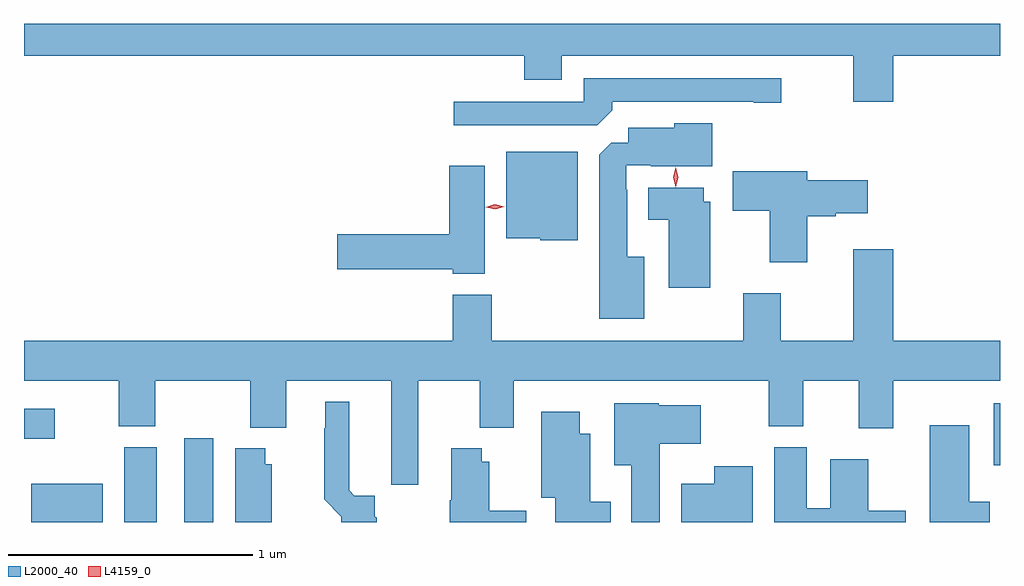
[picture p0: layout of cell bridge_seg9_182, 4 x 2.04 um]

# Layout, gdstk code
import gdstk
lib = gdstk.Library(unit=1e-6, precision=1e-09)
def R(c, l, rs):  # rectangles x0, y0, x1, y1
    for r in rs: c.add(gdstk.rectangle(r[:2], r[2:], *l))
def P(c, l, *ps):  # polygons
    for p in ps: c.add(gdstk.Polygon(p, *l))
L2000_40 = (2000, 40)
L4159_0 = (4159, 0)

bridge_seg9_182 = lib.new_cell('bridge_seg9_182')
R(bridge_seg9_182, L2000_40, [(137.663,1246.456,137.956,1246.615), (138.044,1246.456,138.178,1246.764), (138.29,1246.456,138.409,1246.801), (141.608,1246.691,141.634,1246.945), (137.634,1246.799,137.761,1246.921)])
P(bridge_seg9_182, L2000_40, [(141.196,1248.368),(141.634,1248.368),(141.634,1248.5),(137.634,1248.5),(137.634,1248.368),(139.685,1248.368),(139.685,1248.269),(139.837,1248.269),(139.837,1248.368),(141.032,1248.368),(141.032,1248.18),(141.196,1248.18)],
  [(140.045,1248.146),(140.045,1248.18),(140.624,1248.18),(140.624,1248.175),(140.737,1248.175),(140.737,1248.276),(139.929,1248.276),(139.929,1248.18),(139.395,1248.18),(139.395,1248.084),(139.983,1248.084)],
  [(140.176,1247.545),(140.107,1247.545),(140.107,1247.819),(140.103,1247.819),(140.103,1247.919),(140.203,1247.919),(140.203,1247.915),(140.455,1247.915),(140.455,1248.091),(140.298,1248.091),(140.298,1248.073),(140.111,1248.073),(140.111,1248.012),(140.04,1248.012),(139.991,1247.963),(139.991,1247.291),(140.176,1247.291)],
  [(139.903,1247.974),(139.61,1247.974),(139.61,1247.621),(139.749,1247.621),(139.749,1247.612),(139.903,1247.612)],
  [(139.522,1247.917),(139.376,1247.917),(139.376,1247.636),(138.918,1247.636),(138.918,1247.494),(139.392,1247.494),(139.392,1247.474),(139.522,1247.474)],
  [(140.845,1247.711),(140.96,1247.711),(140.96,1247.723),(141.091,1247.723),(141.091,1247.858),(140.845,1247.858),(140.845,1247.896),(140.538,1247.896),(140.538,1247.734),(140.69,1247.734),(140.69,1247.523),(140.845,1247.523)],
  [(140.446,1247.769),(140.419,1247.769),(140.419,1247.827),(140.192,1247.827),(140.192,1247.696),(140.276,1247.696),(140.276,1247.417),(140.446,1247.417)],
  [(139.249,1247.036),(139.502,1247.036),(139.502,1246.844),(139.642,1246.844),(139.642,1247.036),(140.687,1247.036),(140.687,1246.849),(140.827,1246.849),(140.827,1247.036),(141.056,1247.036),(141.056,1246.842),(141.196,1246.842),(141.196,1247.036),(141.634,1247.036),(141.634,1247.2),(141.196,1247.2),(141.196,1247.575),(141.032,1247.575),(141.032,1247.2),(140.736,1247.2),(140.736,1247.395),(140.581,1247.395),(140.581,1247.2),(139.551,1247.2),(139.551,1247.389),(139.391,1247.389),(139.391,1247.2),(137.634,1247.2),(137.634,1247.036),(138.023,1247.036),(138.023,1246.849),(138.171,1246.849),(138.171,1247.036),(138.562,1247.036),(138.562,1246.844),(138.709,1246.844),(138.709,1247.036),(139.139,1247.036),(139.139,1246.723),(139.14,1246.723),(139.14,1246.611),(139.249,1246.611)],
  [(139.08,1246.474),(139.072,1246.481),(139.072,1246.566),(138.988,1246.566),(138.967,1246.588),(138.967,1246.951),(138.869,1246.951),(138.869,1246.841),(138.865,1246.841),(138.865,1246.55),(138.935,1246.48),(138.935,1246.456),(139.08,1246.456)],
  [(140.239,1246.778),(140.407,1246.778),(140.407,1246.936),(140.235,1246.936),(140.235,1246.945),(140.054,1246.945),(140.054,1246.691),(140.123,1246.691),(140.123,1246.456),(140.239,1246.456)],
  [(140.038,1246.54),(139.954,1246.54),(139.954,1246.819),(139.912,1246.819),(139.912,1246.909),(139.754,1246.909),(139.754,1246.556),(139.811,1246.556),(139.811,1246.456),(140.038,1246.456)],
  [(141.592,1246.54),(141.508,1246.54),(141.508,1246.855),(141.347,1246.855),(141.347,1246.456),(141.592,1246.456)],
  [(141.247,1246.503),(141.094,1246.503),(141.094,1246.714),(140.939,1246.714),(140.939,1246.513),(140.842,1246.513),(140.842,1246.764),(140.708,1246.764),(140.708,1246.456),(141.247,1246.456)],
  [(139.693,1246.503),(139.54,1246.503),(139.54,1246.705),(139.51,1246.705),(139.51,1246.759),(139.385,1246.759),(139.385,1246.547),(139.378,1246.547),(139.378,1246.456),(139.693,1246.456)],
  [(138.649,1246.695),(138.622,1246.695),(138.622,1246.759),(138.5,1246.759),(138.5,1246.456),(138.649,1246.456)],
  [(140.62,1246.687),(140.462,1246.687),(140.462,1246.615),(140.327,1246.615),(140.327,1246.456),(140.62,1246.456)])
P(bridge_seg9_182, L4159_0, [(140.305,1247.83),(140.305,1247.83),(140.295,1247.871),(140.305,1247.912),(140.305,1247.912),(140.305,1247.912),(140.315,1247.871),(140.305,1247.83)],
  [(139.565,1247.739),(139.526,1247.748),(139.526,1247.748),(139.526,1247.748),(139.564,1247.759),(139.603,1247.75),(139.603,1247.75),(139.603,1247.75)])

lib.write_gds('bridge_seg9_182.gds')
